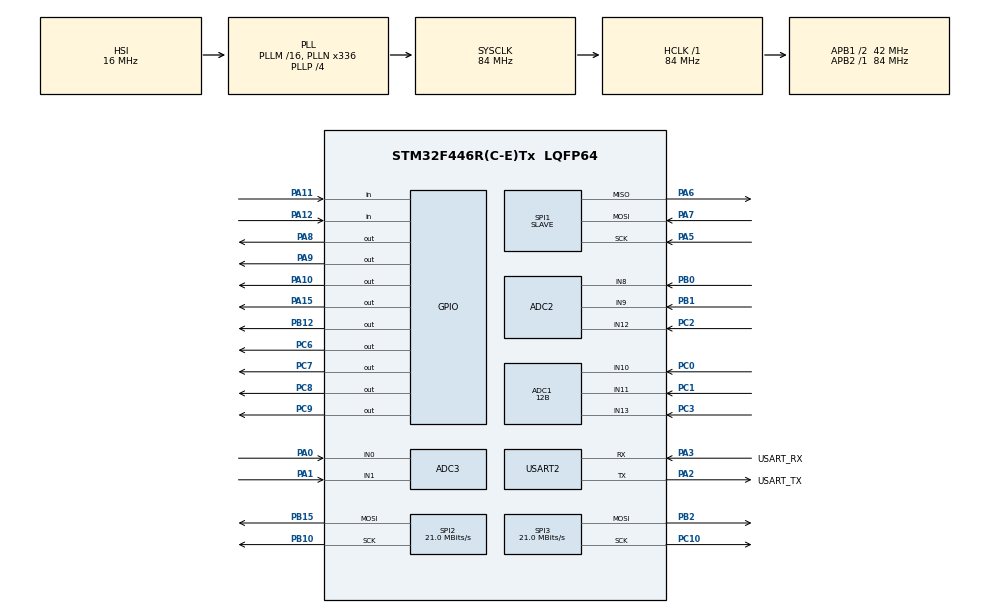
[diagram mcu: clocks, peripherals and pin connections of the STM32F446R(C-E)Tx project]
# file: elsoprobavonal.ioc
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ADC1.Channel-15\#ChannelRegularConversion=ADC_CHANNEL_10
ADC1.Channel-16\#ChannelRegularConversion=ADC_CHANNEL_11
ADC1.Channel-17\#ChannelRegularConversion=ADC_CHANNEL_13
ADC1.ClockPrescaler=ADC_CLOCK_SYNC_PCLK_DIV4
ADC1.ContinuousConvMode=ENABLE
ADC1.DMAContinuousRequests=DISABLE
ADC1.DataAlign=ADC_DATAALIGN_RIGHT
ADC1.DiscontinuousConvMode=DISABLE
ADC1.EOCSelection=ADC_EOC_SINGLE_CONV
ADC1.EnableAnalogWatchDog=false
ADC1.ExternalTrigConv=ADC_SOFTWARE_START
ADC1.ExternalTrigConvEdge=ADC_EXTERNALTRIGCONVEDGE_NONE
ADC1.InjNumberOfConversion=0
ADC1.NbrOfConversion=3
ADC1.NbrOfConversionFlag=1
ADC1.Rank-15\#ChannelRegularConversion=1
ADC1.Rank-16\#ChannelRegularConversion=2
ADC1.Rank-17\#ChannelRegularConversion=3
ADC1.Resolution=ADC_RESOLUTION_12B
ADC1.SamplingTime-15\#ChannelRegularConversion=ADC_SAMPLETIME_84CYCLES
ADC1.SamplingTime-16\#ChannelRegularConversion=ADC_SAMPLETIME_84CYCLES
ADC1.SamplingTime-17\#ChannelRegularConversion=ADC_SAMPLETIME_84CYCLES
ADC1.ScanConvMode=ENABLE
ADC1.master=1
ADC2.Channel-18\#ChannelRegularConversion=ADC_CHANNEL_8
ADC2.Channel-19\#ChannelRegularConversion=ADC_CHANNEL_9
ADC2.Channel-20\#ChannelRegularConversion=ADC_CHANNEL_12
ADC2.ContinuousConvMode=ENABLE
ADC2.DMAContinuousRequests=DISABLE
ADC2.NbrOfConversion=3
ADC2.NbrOfConversionFlag=1
ADC2.Rank-18\#ChannelRegularConversion=1
ADC2.Rank-19\#ChannelRegularConversion=2
ADC2.Rank-20\#ChannelRegularConversion=3
ADC2.SamplingTime-18\#ChannelRegularConversion=ADC_SAMPLETIME_84CYCLES
ADC2.SamplingTime-19\#ChannelRegularConversion=ADC_SAMPLETIME_84CYCLES
ADC2.SamplingTime-20\#ChannelRegularConversion=ADC_SAMPLETIME_84CYCLES
ADC3.Channel-26\#ChannelRegularConversion=ADC_CHANNEL_0
ADC3.Channel-27\#ChannelRegularConversion=ADC_CHANNEL_1
ADC3.ContinuousConvMode=ENABLE
ADC3.DMAContinuousRequests=DISABLE
ADC3.NbrOfConversion=2
ADC3.NbrOfConversionFlag=1
ADC3.Rank-26\#ChannelRegularConversion=1
ADC3.Rank-27\#ChannelRegularConversion=2
ADC3.SamplingTime-26\#ChannelRegularConversion=ADC_SAMPLETIME_84CYCLES
ADC3.SamplingTime-27\#ChannelRegularConversion=ADC_SAMPLETIME_84CYCLES
ADC3.ScanConvMode=ENABLE
Mcu.Family=STM32F4
Mcu.Name=STM32F446R(C-E)Tx
Mcu.Package=LQFP64
NVIC.PriorityGroup=NVIC_PRIORITYGROUP_0
PA0-WKUP.Signal=ADCx_IN0
PA1.Signal=ADCx_IN1
PA10.Signal=GPIO_Output
PA11.Signal=GPIO_Input
PA12.Signal=GPIO_Input
PA13.GPIO_Label=TMS
PA13.Mode=Serial_Wire
PA13.Signal=SYS_JTMS-SWDIO
PA14.GPIO_Label=TCK
PA14.Mode=Serial_Wire
PA14.Signal=SYS_JTCK-SWCLK
PA15.Signal=GPIO_Output
PA2.GPIO_Label=USART_TX
PA2.Mode=Asynchronous
PA2.Signal=USART2_TX
PA3.GPIO_Label=USART_RX
PA3.Mode=Asynchronous
PA3.Signal=USART2_RX
PA5.Mode=Full_Duplex_Slave
PA5.Signal=SPI1_SCK
PA6.Mode=Full_Duplex_Slave
PA6.Signal=SPI1_MISO
PA7.Mode=Full_Duplex_Slave
PA7.Signal=SPI1_MOSI
PA8.Signal=GPIO_Output
PA9.Signal=GPIO_Output
PB0.Signal=ADCx_IN8
PB1.Signal=ADCx_IN9
PB10.Mode=TX_Only_Simplex_Unidirect_Master
PB10.Signal=SPI2_SCK
PB12.Signal=GPIO_Output
PB15.Mode=TX_Only_Simplex_Unidirect_Master
PB15.Signal=SPI2_MOSI
PB2.Mode=TX_Only_Simplex_Unidirect_Master
PB2.Signal=SPI3_MOSI
PC0.Signal=ADCx_IN10
PC1.Signal=ADCx_IN11
PC10.Mode=TX_Only_Simplex_Unidirect_Master
PC10.Signal=SPI3_SCK
PC2.Signal=ADCx_IN12
PC3.Signal=ADCx_IN13
PC6.Signal=GPIO_Output
PC7.Signal=GPIO_Output
PC8.Signal=GPIO_Output
PC9.Signal=GPIO_Output
ProjectManager.HeapSize=0x200
ProjectManager.StackSize=0x400
ProjectManager.TargetToolchain=SW4STM32
RCC.48MHZClocksFreq_Value=84000000
RCC.AHBFreq_Value=84000000
RCC.APB1CLKDivider=RCC_HCLK_DIV2
RCC.APB1Freq_Value=42000000
RCC.APB1TimFreq_Value=84000000
RCC.APB2Freq_Value=84000000
RCC.APB2TimFreq_Value=84000000
RCC.CortexFreq_Value=84000000
RCC.FLatency-AdvancedSettings=FLASH_LATENCY_2
RCC.HCLKFreq_Value=84000000
RCC.HSE_VALUE=8000000
RCC.HSI_VALUE=16000000
RCC.PLLN=336
RCC.PLLP=RCC_PLLP_DIV4
RCC.SYSCLKFreq_VALUE=84000000
RCC.SYSCLKSource=RCC_SYSCLKSOURCE_PLLCLK
RCC.USBFreq_Value=168000000
RCC.VCOOutputFreq_Value=336000000
SH.ADCx_IN0.0=ADC3_IN0,IN0
SH.ADCx_IN1.0=ADC3_IN1,IN1
SH.ADCx_IN10.0=ADC1_IN10,IN10
SH.ADCx_IN11.0=ADC1_IN11,IN11
SH.ADCx_IN12.0=ADC2_IN12,IN12
SH.ADCx_IN13.0=ADC1_IN13,IN13
SH.ADCx_IN8.0=ADC2_IN8,IN8
SH.ADCx_IN9.0=ADC2_IN9,IN9
SPI1.Direction=SPI_DIRECTION_2LINES
SPI1.Mode=SPI_MODE_SLAVE
SPI1.VirtualType=VM_SLAVE
SPI2.CalculateBaudRate=21.0 MBits/s
SPI2.Direction=SPI_DIRECTION_2LINES
SPI2.Mode=SPI_MODE_MASTER
SPI2.VirtualType=VM_MASTER
SPI3.CalculateBaudRate=21.0 MBits/s
SPI3.DataSize=SPI_DATASIZE_16BIT
SPI3.Direction=SPI_DIRECTION_2LINES
SPI3.Mode=SPI_MODE_MASTER
SPI3.VirtualType=VM_MASTER
USART2.VirtualMode=VM_ASYNC
board=NUCLEO-F446RE

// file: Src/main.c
/**
 ******************************************************************************
 * @file           : main.c
 * @brief          : Main program body
 ******************************************************************************
 ** This notice applies to any and all portions of this file
 * that are not between comment pairs USER CODE BEGIN and
 * USER CODE END. Other portions of this file, whether
 * inserted by the user or by software development tools
 * are owned by their respective copyright owners.
 *
 * COPYRIGHT(c) 2018 STMicroelectronics
 *
 * Redistribution and use in source and binary forms, with or without modification,
 * are permitted provided that the following conditions are met:
 *   1. Redistributions of source code must retain the above copyright notice,
 *      this list of conditions and the following disclaimer.
 *   2. Redistributions in binary form must reproduce the above copyright notice,
 *      this list of conditions and the following disclaimer in the documentation
 *      and/or other materials provided with the distribution.
 *   3. Neither the name of STMicroelectronics nor the names of its contributors
 *      may be used to endorse or promote products derived from this software
 *      without specific prior written permission.
 *
 * THIS SOFTWARE IS PROVIDED BY THE COPYRIGHT HOLDERS AND CONTRIBUTORS "AS IS"
 * AND ANY EXPRESS OR IMPLIED WARRANTIES, INCLUDING, BUT NOT LIMITED TO, THE
 * IMPLIED WARRANTIES OF MERCHANTABILITY AND FITNESS FOR A PARTICULAR PURPOSE ARE
 * DISCLAIMED. IN NO EVENT SHALL THE COPYRIGHT HOLDER OR CONTRIBUTORS BE LIABLE
 * FOR ANY DIRECT, INDIRECT, INCIDENTAL, SPECIAL, EXEMPLARY, OR CONSEQUENTIAL
 * DAMAGES (INCLUDING, BUT NOT LIMITED TO, PROCUREMENT OF SUBSTITUTE GOODS OR
 * SERVICES; LOSS OF USE, DATA, OR PROFITS; OR BUSINESS INTERRUPTION) HOWEVER
 * CAUSED AND ON ANY THEORY OF LIABILITY, WHETHER IN CONTRACT, STRICT LIABILITY,
 * OR TORT (INCLUDING NEGLIGENCE OR OTHERWISE) ARISING IN ANY WAY OUT OF THE USE
 * OF THIS SOFTWARE, EVEN IF ADVISED OF THE POSSIBILITY OF SUCH DAMAGE.
 *
 ******************************************************************************
 */
#include "main.h"
#include "stm32f4xx_hal.h"

ADC_HandleTypeDef hadc1;
ADC_HandleTypeDef hadc2;
ADC_HandleTypeDef hadc3;

SPI_HandleTypeDef hspi1;
SPI_HandleTypeDef hspi2;
SPI_HandleTypeDef hspi3;

UART_HandleTypeDef huart2;

/* USER CODE BEGIN PV */
/* Private variables ---------------------------------------------------------*/
typedef struct _TCRT {

	uint32_t data;
	uint32_t channel;
	uint8_t place;
	ADC_HandleTypeDef adc;

} TCRT;

#define LED_latch GPIO_PIN_15
#define TCRT_latch GPIO_PIN_12
#define MUX_A GPIO_PIN_8
#define MUX_B GPIO_PIN_10
#define LED_en1 GPIO_PIN_7
#define LED_en2 GPIO_PIN_8
#define TCRT_en1 GPIO_PIN_6
#define TCRT_en2 GPIO_PIN_9

#define USE_FULL_ASSERT

uint16_t atlag[2], adat[2], spiData[2], trig, kuka, send, target, sum, db;
TCRT line[32];
uint32_t row[32], led[33];

/* USER CODE END PV */

void SystemClock_Config(void);
static void MX_GPIO_Init(void);
static void MX_ADC1_Init(void);
static void MX_ADC2_Init(void);
static void MX_ADC3_Init(void);
static void MX_SPI1_Init(void);
static void MX_SPI3_Init(void);
static void MX_USART2_UART_Init(void);
static void MX_SPI2_Init(void);

/* USER CODE BEGIN PFP */
/* Private function prototypes -----------------------------------------------*/
void initLine();
int ADC_value(ADC_HandleTypeDef hadc, uint32_t channel);
void flash();
void mux_switch_y(uint8_t i);
void mux_switch_x(uint8_t i);
void SendSPI();
/* USER CODE END PFP */

int main(void) {

	/* MCU Configuration----------------------------------------------------------*/

	/* Reset of all peripherals, Initializes the Flash interface and the Systick. */
	HAL_Init();

	/* USER CODE BEGIN Init */

	initLine();

	/* USER CODE END Init */

	/* Configure the system clock */
	SystemClock_Config();

	/* Initialize all configured peripherals */
	MX_GPIO_Init();
	MX_ADC1_Init();
	MX_ADC2_Init();
	MX_ADC3_Init();
	MX_SPI1_Init();
	MX_SPI3_Init();
	MX_USART2_UART_Init();
	MX_SPI2_Init();
	/* USER CODE BEGIN 2 */

//HAL_GPIO_WritePin(GPIOA, LED_latch, GPIO_PIN_RESET);
	HAL_GPIO_WritePin(GPIOC, LED_en1, GPIO_PIN_RESET);
	HAL_GPIO_WritePin(GPIOC, LED_en2, GPIO_PIN_RESET);

	HAL_GPIO_WritePin(GPIOB, TCRT_latch, GPIO_PIN_RESET);
	HAL_GPIO_WritePin(GPIOC, TCRT_en1, GPIO_PIN_RESET);
	HAL_GPIO_WritePin(GPIOC, TCRT_en2, GPIO_PIN_RESET);

	HAL_GPIO_WritePin(GPIOA, MUX_A, GPIO_PIN_RESET);
	HAL_GPIO_WritePin(GPIOA, MUX_B, GPIO_PIN_RESET);

	trig = 400;
	SendSPI();

	adat[1] = 0b0000000000000000;
	adat[0] = 0b0000000000000000;
	HAL_SPI_Transmit(&hspi3, &adat, 2, HAL_MAX_DELAY);
	HAL_GPIO_WritePin(GPIOA, LED_latch, GPIO_PIN_SET);
	HAL_Delay(1);
	HAL_GPIO_WritePin(GPIOA, LED_latch, GPIO_PIN_RESET);

	while (1) {

		 /*spiData[1] = 0b0000000000000000;
		 spiData[0] = 0b0001000100010001;

		 HAL_SPI_Transmit(&hspi3, &spiData, 2, HAL_MAX_DELAY);
		 HAL_SPI_Transmit(&hspi2, &spiData, 2, HAL_MAX_DELAY);
		 HAL_GPIO_WritePin(GPIOB, TCRT_latch, GPIO_PIN_SET);
		 HAL_GPIO_WritePin(GPIOB, TCRT_latch, GPIO_PIN_RESET);
		 mux_switch_y(0);
		 led[20]=ADC_value(hadc1,ADC_CHANNEL_10);
		 mux_switch_x(0);
		 led[32]=ADC_value(hadc1,ADC_CHANNEL_11);
		 mux_switch_y(0);
		 led[28]=ADC_value(hadc1,ADC_CHANNEL_13);
		 mux_switch_x(0);
		 led[24]=ADC_value(hadc2,ADC_CHANNEL_9);
		 mux_switch_x(0);
		 led[16]=ADC_value(hadc2,ADC_CHANNEL_12);
		 mux_switch_y(0);
		 led[12]=ADC_value(hadc2,ADC_CHANNEL_8);
		 mux_switch_x(0);
		 led[8]=ADC_value(hadc3,ADC_CHANNEL_0);
		 mux_switch_y(0);
		 led[4]=ADC_value(hadc3,ADC_CHANNEL_1);

		 //idАig jС

		 spiData[1] = 0b0000000000000000;
		 spiData[0] = 0b0010001000100010;
		 HAL_SPI_Transmit(&hspi3, &spiData, 2, HAL_MAX_DELAY);
		 HAL_SPI_Transmit(&hspi2, &spiData, 2, HAL_MAX_DELAY);
		 HAL_GPIO_WritePin(GPIOB, TCRT_latch, GPIO_PIN_SET);
		 HAL_GPIO_WritePin(GPIOB, TCRT_latch, GPIO_PIN_RESET);
		 mux_switch_y(1);
		 led[19]=ADC_value(hadc1,ADC_CHANNEL_10);
		 mux_switch_x(1);
		 led[31]=ADC_value(hadc1,ADC_CHANNEL_11);
		 mux_switch_y(1);
		 led[27]=ADC_value(hadc1,ADC_CHANNEL_13);
		 mux_switch_x(1);
		 led[23]=ADC_value(hadc2,ADC_CHANNEL_9);
		 mux_switch_x(1);
		 led[15]=ADC_value(hadc2,ADC_CHANNEL_12);
		 mux_switch_y(1);
		 led[11]=ADC_value(hadc2,ADC_CHANNEL_8);
		 mux_switch_x(1);
		 led[7]=ADC_value(hadc3,ADC_CHANNEL_0);
		 mux_switch_y(1);
		 led[3]=ADC_value(hadc3,ADC_CHANNEL_1);

		 //jС

		 spiData[1] = 0b0000000000000000;
		 spiData[0] = 0b0100010001000100;
		 HAL_SPI_Transmit(&hspi3, &spiData, 2, HAL_MAX_DELAY);
		 HAL_SPI_Transmit(&hspi2, &spiData, 2, HAL_MAX_DELAY);
		 HAL_GPIO_WritePin(GPIOB, TCRT_latch, GPIO_PIN_SET);
		 HAL_GPIO_WritePin(GPIOB, TCRT_latch, GPIO_PIN_RESET);

		 mux_switch_y(2);
		 led[18]=ADC_value(hadc1,ADC_CHANNEL_10);
		 mux_switch_x(2);
		 led[30]=ADC_value(hadc1,ADC_CHANNEL_11);
		 mux_switch_y(2);
		 led[26]=ADC_value(hadc1,ADC_CHANNEL_13);
		 mux_switch_x(2);
		 led[22]=ADC_value(hadc2,ADC_CHANNEL_9);
		 mux_switch_x(2);
		 led[14]=ADC_value(hadc2,ADC_CHANNEL_12);
		 mux_switch_y(2);
		 led[10]=ADC_value(hadc2,ADC_CHANNEL_8);
		 mux_switch_x(2);
		 led[6]=ADC_value(hadc3,ADC_CHANNEL_0);
		 mux_switch_y(2);
		 led[2]=ADC_value(hadc3,ADC_CHANNEL_1);

		 spiData[1] = 0b0000000000000000;
		 spiData[0] = 0b1000100010001000;
		 HAL_SPI_Transmit(&hspi3, &spiData, 2, HAL_MAX_DELAY);
		 HAL_SPI_Transmit(&hspi2, &spiData, 2, HAL_MAX_DELAY);
		 HAL_GPIO_WritePin(GPIOB, TCRT_latch, GPIO_PIN_SET);
		 HAL_GPIO_WritePin(GPIOB, TCRT_latch, GPIO_PIN_RESET);

		 mux_switch_y(3);
		 led[17]=ADC_value(hadc1,ADC_CHANNEL_10);
		 mux_switch_x(3);
		 led[29]=ADC_value(hadc1,ADC_CHANNEL_11);
		 mux_switch_y(3);
		 led[25]=ADC_value(hadc1,ADC_CHANNEL_13);
		 mux_switch_x(3);
		 led[21]=ADC_value(hadc2,ADC_CHANNEL_9);
		 mux_switch_x(3);
		 led[13]=ADC_value(hadc2,ADC_CHANNEL_12);
		 mux_switch_y(3);
		 led[9]=ADC_value(hadc2,ADC_CHANNEL_8);
		 mux_switch_x(3);
		 led[5]=ADC_value(hadc3,ADC_CHANNEL_0);
		 mux_switch_y(3);
		 led[1]=ADC_value(hadc3,ADC_CHANNEL_1);

		 if(led[1]>trig)
		 {
		 adat[0]+=0b0000000010000000;
		 }
		 else
		 {
		 adat[0]&=0b1111111101111111;
		 }

		 if(led[17]>trig)
		 {
		 adat[1]+=0b0000000010000000;
		 }
		 else
		 {
		 adat[1]&=0b1111111101111111;
		 }

		 if(led[2]>trig)
		 {
		 adat[0]+=0b0000000001000000;
		 }
		 else
		 {
		 adat[0]&=0b1111111101111111;
		 }

		 if(led[18]>trig)
		 {
		 adat[1]+=0b0000000001000000;
		 }
		 else
		 {
		 adat[1]&=0b1111111110111111;
		 }
		 if(led[3]>trig)
		 {
		 adat[0]+=0b0000000000100000;
		 }
		 else
		 {
		 adat[0]&=0b1111111111011111;
		 }

		 if(led[19]>trig)
		 {
		 adat[1]+=0b0000000000100000;
		 }
		 else
		 {
		 adat[1]&=0b1111111111011111;
		 }

		 if(led[4]>trig)
		 {
		 adat[0]+=0b0000000000010000;
		 }
		 else
		 {
		 adat[0]&=0b1111111111101111;
		 }

		 if(led[20]>trig)
		 {
		 adat[1]+=0b0000000000010000;
		 }
		 else
		 {
		 adat[1]&=0b1111111111101111;
		 }

		 if(led[5]>trig)
		 {
		 adat[0]+=0b0000000000001000;
		 }
		 else
		 {
		 adat[0]&=0b1111111111110111;
		 }
		 if(led[21]>trig)
		 {
		 adat[1]+=0b0000000000001000;
		 }
		 else
		 {
		 adat[1]&=0b1111111111110111;
		 }
		 if(led[6]>trig)
		 {
		 adat[0]+=0b0000000000000100;
		 }
		 else
		 {
		 adat[0]&=0b1111111111111011;
		 }
		 if(led[22]>trig)
		 {
		 adat[1]+=0b0000000000000100;
		 }
		 else
		 {
		 adat[1]&=0b1111111111111011;
		 }
		 if(led[7]>trig)
		 {
		 adat[0]+=0b0000000000000010;
		 }
		 else
		 {
		 adat[0]&=0b1111111111111101;
		 }
		 if(led[23]>trig)
		 {
		 adat[1]+=0b0000000000000010;
		 }
		 else
		 {
		 adat[1]&=0b1111111111111101;
		 }
		 if(led[8]>trig)
		 {
		 adat[0]+=0b0000000000000001;
		 }
		 else
		 {
		 adat[0]&=0b1111111111111110;
		 }
		 if(led[24]>trig)
		 {
		 adat[1]+=0b0000000000000001;
		 }
		 else
		 {
		 adat[1]&=0b1111111111111110;
		 }
		 if(led[9]>trig)
		 {
		 adat[0]+=0b1000000000000000;
		 }
		 else
		 {
		 adat[0]&=0b0111111111111111;
		 }
		 if(led[25]>trig)
		 {
		 adat[1]+=0b1000000000000000;
		 }
		 else
		 {
		 adat[1]&=0b0111111111111111;
		 }
		 if(led[10]>trig)
		 {
		 adat[0]+=0b0100000000000000;
		 }
		 else
		 {
		 adat[0]&=0b1011111111111111;
		 }
		 if(led[26]>trig)
		 {
		 adat[1]+=0b0100000000000000;
		 }
		 else
		 {
		 adat[1]&=0b1011111111111111;
		 }
		 if(led[11]>trig)
		 {
		 adat[0]+=0b0010000000000000;
		 }
		 else
		 {
		 adat[0]&=0b1101111111111111;
		 }
		 if(led[27]>trig)
		 {
		 adat[1]+=0b0010000000000000;
		 }
		 else
		 {
		 adat[1]&=0b1101111111111111;
		 }
		 if(led[12]>trig)
		 {
		 adat[0]+=0b0001000000000000;
		 }
		 else
		 {
		 adat[0]&=0b1110111111111111;
		 }
		 if(led[28]>trig)
		 {
		 adat[1]+=0b0001000000000000;
		 }
		 else
		 {
		 adat[1]&=0b1110111111111111;
		 }
		 if(led[13]>trig)
		 {
		 adat[0]+=0b0000100000000000;
		 }
		 else
		 {
		 adat[0]&=0b1111011111111111;
		 }
		 if(led[29]>trig)
		 {
		 adat[1]+=0b0000100000000000;
		 }
		 else
		 {
		 adat[1]&=0b1111011111111111;
		 }
		 if(led[14]>trig)
		 {
		 adat[0]+=0b0000010000000000;
		 }
		 else
		 {
		 adat[0]&=0b1111101111111111;
		 }
		 if(led[30]>trig)
		 {
		 adat[1]+=0b0000010000000000;
		 }
		 else
		 {
		 adat[1]&=0b1111101111111111;
		 }
		 if(led[15]>trig)
		 {
		 adat[0]+=0b0000001000000000;
		 }
		 else
		 {
		 adat[0]&=0b1111110111111111;
		 }
		 if(led[31]>trig)
		 {
		 adat[1]+=0b0000001000000000;
		 }
		 else
		 {
		 adat[1]&=0b1111110111111111;
		 }
		 if(led[16]>trig)
		 {
		 adat[0]+=0b0000000100000000;
		 }
		 else
		 {
		 adat[0]&=0b1111111011111111;
		 }
		 if(led[32]>trig)
		 {
		 adat[1]+=0b0000000100000000;
		 }
		 else
		 {
		 adat[1]&=0b1111111011111111;
		 }

			HAL_SPI_Transmit(&hspi3, &adat, 2, 10);
			HAL_GPIO_WritePin(GPIOA, LED_latch, GPIO_PIN_SET);
			HAL_Delay(1);
			HAL_GPIO_WritePin(GPIOA, LED_latch, GPIO_PIN_RESET);

			adat[0] = 0;
			adat[1] = 0;

			for(int i=0;i<33;i++)
			{
				if(led[i] > trig)
				{
					sum +=i*100;
					db++;
				}
			}

			target = sum/db;
			//SendSPI(); //msg[0] = db, msg[2] = target
			sum = 0;
			db = 0;*/
		;
	}

//while(1)
//{
//	mux_switch_y(0);
//	spiData[1] = 0b0001000100010001;
//	spiData[0] = 0b0001000100010001;
//	flash(0);
//	HAL_Delay(200);
//	for(int i=0;i<3;i++)
//	{
//		HAL_Delay(200);
//		*((uint32_t*)spiData) *= 2;
//		mux_switch_y(i+1);
//		flash(i+1);
//	}
//
//}

	/* USER CODE END 2 */

	/* Infinite loop */
	while (1) {

	}

}

void HAL_SPI_TxRxCpltCallback(SPI_HandleTypeDef *hspi) {
	SendSPI();
}

void SystemClock_Config(void) {

	RCC_OscInitTypeDef RCC_OscInitStruct;
	RCC_ClkInitTypeDef RCC_ClkInitStruct;

	/**Configure the main internal regulator output voltage
	 */
	__HAL_RCC_PWR_CLK_ENABLE()
	;

	__HAL_PWR_VOLTAGESCALING_CONFIG(PWR_REGULATOR_VOLTAGE_SCALE3);

	/**Initializes the CPU, AHB and APB busses clocks
	 */
	RCC_OscInitStruct.OscillatorType = RCC_OSCILLATORTYPE_HSI;
	RCC_OscInitStruct.HSIState = RCC_HSI_ON;
	RCC_OscInitStruct.HSICalibrationValue = 16;
	RCC_OscInitStruct.PLL.PLLState = RCC_PLL_ON;
	RCC_OscInitStruct.PLL.PLLSource = RCC_PLLSOURCE_HSI;
	RCC_OscInitStruct.PLL.PLLM = 16;
	RCC_OscInitStruct.PLL.PLLN = 336;
	RCC_OscInitStruct.PLL.PLLP = RCC_PLLP_DIV4;
	RCC_OscInitStruct.PLL.PLLQ = 2;
	RCC_OscInitStruct.PLL.PLLR = 2;
	if (HAL_RCC_OscConfig(&RCC_OscInitStruct) != HAL_OK) {
		_Error_Handler(__FILE__, __LINE__);
	}

	/**Initializes the CPU, AHB and APB busses clocks
	 */
	RCC_ClkInitStruct.ClockType = RCC_CLOCKTYPE_HCLK | RCC_CLOCKTYPE_SYSCLK
			| RCC_CLOCKTYPE_PCLK1 | RCC_CLOCKTYPE_PCLK2;
	RCC_ClkInitStruct.SYSCLKSource = RCC_SYSCLKSOURCE_PLLCLK;
	RCC_ClkInitStruct.AHBCLKDivider = RCC_SYSCLK_DIV1;
	RCC_ClkInitStruct.APB1CLKDivider = RCC_HCLK_DIV2;
	RCC_ClkInitStruct.APB2CLKDivider = RCC_HCLK_DIV1;

	if (HAL_RCC_ClockConfig(&RCC_ClkInitStruct, FLASH_LATENCY_2) != HAL_OK) {
		_Error_Handler(__FILE__, __LINE__);
	}

	/**Configure the Systick interrupt time
	 */
	HAL_SYSTICK_Config(HAL_RCC_GetHCLKFreq() / 1000);

	/**Configure the Systick
	 */
	HAL_SYSTICK_CLKSourceConfig(SYSTICK_CLKSOURCE_HCLK);

	/* SysTick_IRQn interrupt configuration */
	HAL_NVIC_SetPriority(SysTick_IRQn, 0, 0);
}

/* ADC1 init function */
static void MX_ADC1_Init(void) {

	ADC_ChannelConfTypeDef sConfig;

	/**Configure the global features of the ADC (Clock, Resolution, Data Alignment and number of conversion)
	 */
	hadc1.Instance = ADC1;
	hadc1.Init.ClockPrescaler = ADC_CLOCK_SYNC_PCLK_DIV4;
	hadc1.Init.Resolution = ADC_RESOLUTION_12B;
	hadc1.Init.ScanConvMode = ENABLE;
	hadc1.Init.ContinuousConvMode = ENABLE;
	hadc1.Init.DiscontinuousConvMode = DISABLE;
	hadc1.Init.ExternalTrigConvEdge = ADC_EXTERNALTRIGCONVEDGE_NONE;
	hadc1.Init.ExternalTrigConv = ADC_SOFTWARE_START;
	hadc1.Init.DataAlign = ADC_DATAALIGN_RIGHT;
	hadc1.Init.NbrOfConversion = 3;
	hadc1.Init.DMAContinuousRequests = DISABLE;
	hadc1.Init.EOCSelection = ADC_EOC_SINGLE_CONV;
	if (HAL_ADC_Init(&hadc1) != HAL_OK) {
		_Error_Handler(__FILE__, __LINE__);
	}

	/**Configure for the selected ADC regular channel its corresponding rank in the sequencer and its sample time.
	 */
	sConfig.Channel = ADC_CHANNEL_10;
	sConfig.Rank = 1;
	sConfig.SamplingTime = ADC_SAMPLETIME_3CYCLES;
	if (HAL_ADC_ConfigChannel(&hadc1, &sConfig) != HAL_OK) {
		_Error_Handler(__FILE__, __LINE__);
	}

	/**Configure for the selected ADC regular channel its corresponding rank in the sequencer and its sample time.
	 */
	sConfig.Channel = ADC_CHANNEL_11;
	sConfig.Rank = 2;
	if (HAL_ADC_ConfigChannel(&hadc1, &sConfig) != HAL_OK) {
		_Error_Handler(__FILE__, __LINE__);
	}

	/**Configure for the selected ADC regular channel its corresponding rank in the sequencer and its sample time.
	 */
	sConfig.Channel = ADC_CHANNEL_13;
	sConfig.Rank = 3;
	if (HAL_ADC_ConfigChannel(&hadc1, &sConfig) != HAL_OK) {
		_Error_Handler(__FILE__, __LINE__);
	}

}

/* ADC2 init function */
static void MX_ADC2_Init(void) {

	ADC_ChannelConfTypeDef sConfig;

	/**Configure the global features of the ADC (Clock, Resolution, Data Alignment and number of conversion)
	 */
	hadc2.Instance = ADC2;
	hadc2.Init.ClockPrescaler = ADC_CLOCK_SYNC_PCLK_DIV4;
	hadc2.Init.Resolution = ADC_RESOLUTION_12B;
	hadc2.Init.ScanConvMode = ENABLE;
	hadc2.Init.ContinuousConvMode = ENABLE;
	hadc2.Init.DiscontinuousConvMode = DISABLE;
	hadc2.Init.ExternalTrigConvEdge = ADC_EXTERNALTRIGCONVEDGE_NONE;
	hadc2.Init.ExternalTrigConv = ADC_SOFTWARE_START;
	hadc2.Init.DataAlign = ADC_DATAALIGN_RIGHT;
	hadc2.Init.NbrOfConversion = 3;
	hadc2.Init.DMAContinuousRequests = DISABLE;
	hadc2.Init.EOCSelection = ADC_EOC_SINGLE_CONV;
	if (HAL_ADC_Init(&hadc2) != HAL_OK) {
		_Error_Handler(__FILE__, __LINE__);
	}

	/**Configure for the selected ADC regular channel its corresponding rank in the sequencer and its sample time.
	 */
	sConfig.Channel = ADC_CHANNEL_8;
	sConfig.Rank = 1;
	sConfig.SamplingTime = ADC_SAMPLETIME_3CYCLES;
	if (HAL_ADC_ConfigChannel(&hadc2, &sConfig) != HAL_OK) {
		_Error_Handler(__FILE__, __LINE__);
	}

	/**Configure for the selected ADC regular channel its corresponding rank in the sequencer and its sample time.
	 */
	sConfig.Channel = ADC_CHANNEL_9;
	sConfig.Rank = 2;
	if (HAL_ADC_ConfigChannel(&hadc2, &sConfig) != HAL_OK) {
		_Error_Handler(__FILE__, __LINE__);
	}

	/**Configure for the selected ADC regular channel its corresponding rank in the sequencer and its sample time.
	 */
	sConfig.Channel = ADC_CHANNEL_12;
	sConfig.Rank = 3;
	if (HAL_ADC_ConfigChannel(&hadc2, &sConfig) != HAL_OK) {
		_Error_Handler(__FILE__, __LINE__);
	}

}

/* ADC3 init function */
static void MX_ADC3_Init(void) {

	ADC_ChannelConfTypeDef sConfig;

	/**Configure the global features of the ADC (Clock, Resolution, Data Alignment and number of conversion)
	 */
	hadc3.Instance = ADC3;
	hadc3.Init.ClockPrescaler = ADC_CLOCK_SYNC_PCLK_DIV4;
	hadc3.Init.Resolution = ADC_RESOLUTION_12B;
	hadc3.Init.ScanConvMode = ENABLE;
	hadc3.Init.ContinuousConvMode = ENABLE;
	hadc3.Init.DiscontinuousConvMode = DISABLE;
	hadc3.Init.ExternalTrigConvEdge = ADC_EXTERNALTRIGCONVEDGE_NONE;
	hadc3.Init.ExternalTrigConv = ADC_SOFTWARE_START;
	hadc3.Init.DataAlign = ADC_DATAALIGN_RIGHT;
	hadc3.Init.NbrOfConversion = 2;
	hadc3.Init.DMAContinuousRequests = DISABLE;
	hadc3.Init.EOCSelection = ADC_EOC_SINGLE_CONV;
	if (HAL_ADC_Init(&hadc3) != HAL_OK) {
		_Error_Handler(__FILE__, __LINE__);
	}

	/**Configure for the selected ADC regular channel its corresponding rank in the sequencer and its sample time.
	 */
	sConfig.Channel = ADC_CHANNEL_0;
	sConfig.Rank = 1;
	sConfig.SamplingTime = ADC_SAMPLETIME_3CYCLES;
	if (HAL_ADC_ConfigChannel(&hadc3, &sConfig) != HAL_OK) {
		_Error_Handler(__FILE__, __LINE__);
	}

	/**Configure for the selected ADC regular channel its corresponding rank in the sequencer and its sample time.
	 */
	sConfig.Channel = ADC_CHANNEL_1;
	sConfig.Rank = 2;
	if (HAL_ADC_ConfigChannel(&hadc3, &sConfig) != HAL_OK) {
		_Error_Handler(__FILE__, __LINE__);
	}

}

/* SPI1 init function */
static void MX_SPI1_Init(void) {

	/* SPI1 parameter configuration*/
	hspi1.Instance = SPI1;
	hspi1.Init.Mode = SPI_MODE_SLAVE;
	hspi1.Init.Direction = SPI_DIRECTION_2LINES;
	hspi1.Init.DataSize = SPI_DATASIZE_8BIT;
	hspi1.Init.CLKPolarity = SPI_POLARITY_LOW;
	hspi1.Init.CLKPhase = SPI_PHASE_1EDGE;
	hspi1.Init.NSS = SPI_NSS_SOFT;
	hspi1.Init.FirstBit = SPI_FIRSTBIT_MSB;
	hspi1.Init.TIMode = SPI_TIMODE_DISABLE;
	hspi1.Init.CRCCalculation = SPI_CRCCALCULATION_DISABLE;
	hspi1.Init.CRCPolynomial = 10;
	if (HAL_SPI_Init(&hspi1) != HAL_OK) {
		_Error_Handler(__FILE__, __LINE__);
	}

}

/* SPI2 init function */
static void MX_SPI2_Init(void) {

	/* SPI2 parameter configuration*/
	hspi2.Instance = SPI2;
	hspi2.Init.Mode = SPI_MODE_MASTER;
	hspi2.Init.Direction = SPI_DIRECTION_2LINES;
	hspi2.Init.DataSize = SPI_DATASIZE_8BIT;
	hspi2.Init.CLKPolarity = SPI_POLARITY_LOW;
	hspi2.Init.CLKPhase = SPI_PHASE_1EDGE;
	hspi2.Init.NSS = SPI_NSS_SOFT;
	hspi2.Init.BaudRatePrescaler = SPI_BAUDRATEPRESCALER_2;
	hspi2.Init.FirstBit = SPI_FIRSTBIT_MSB;
	hspi2.Init.TIMode = SPI_TIMODE_DISABLE;
	hspi2.Init.CRCCalculation = SPI_CRCCALCULATION_DISABLE;
	hspi2.Init.CRCPolynomial = 10;
	if (HAL_SPI_Init(&hspi2) != HAL_OK) {
		_Error_Handler(__FILE__, __LINE__);
	}

}

/* SPI3 init function */
static void MX_SPI3_Init(void) {

	/* SPI3 parameter configuration*/
	hspi3.Instance = SPI3;
	hspi3.Init.Mode = SPI_MODE_MASTER;
	hspi3.Init.Direction = SPI_DIRECTION_2LINES;
	hspi3.Init.DataSize = SPI_DATASIZE_16BIT;
	hspi3.Init.CLKPolarity = SPI_POLARITY_LOW;
	hspi3.Init.CLKPhase = SPI_PHASE_1EDGE;
	hspi3.Init.NSS = SPI_NSS_SOFT;
	hspi3.Init.BaudRatePrescaler = SPI_BAUDRATEPRESCALER_2;
	hspi3.Init.FirstBit = SPI_FIRSTBIT_MSB;
	hspi3.Init.TIMode = SPI_TIMODE_DISABLE;
	hspi3.Init.CRCCalculation = SPI_CRCCALCULATION_DISABLE;
	hspi3.Init.CRCPolynomial = 10;
	if (HAL_SPI_Init(&hspi3) != HAL_OK) {
		_Error_Handler(__FILE__, __LINE__);
	}

}

/* USART2 init function */
static void MX_USART2_UART_Init(void) {

	huart2.Instance = USART2;
	huart2.Init.BaudRate = 115200;
	huart2.Init.WordLength = UART_WORDLENGTH_8B;
	huart2.Init.StopBits = UART_STOPBITS_1;
	huart2.Init.Parity = UART_PARITY_NONE;
	huart2.Init.Mode = UART_MODE_TX_RX;
	huart2.Init.HwFlowCtl = UART_HWCONTROL_NONE;
	huart2.Init.OverSampling = UART_OVERSAMPLING_16;
	if (HAL_UART_Init(&huart2) != HAL_OK) {
		_Error_Handler(__FILE__, __LINE__);
	}

}

/** Configure pins as
 * Analog
 * Input
 * Output
 * EVENT_OUT
 * EXTI
 */
static void MX_GPIO_Init(void) {

	GPIO_InitTypeDef GPIO_InitStruct;

	/* GPIO Ports Clock Enable */
	__HAL_RCC_GPIOC_CLK_ENABLE()
	;
	__HAL_RCC_GPIOA_CLK_ENABLE()
	;
	__HAL_RCC_GPIOB_CLK_ENABLE()
	;

	/*Configure GPIO pin Output Level */
	HAL_GPIO_WritePin(GPIOB, GPIO_PIN_12, GPIO_PIN_RESET);

	/*Configure GPIO pin Output Level */
	HAL_GPIO_WritePin(GPIOC, GPIO_PIN_6 | GPIO_PIN_7 | GPIO_PIN_8 | GPIO_PIN_9,
			GPIO_PIN_RESET);

	/*Configure GPIO pin Output Level */
	HAL_GPIO_WritePin(GPIOA,
			GPIO_PIN_8 | GPIO_PIN_9 | GPIO_PIN_10 | GPIO_PIN_15,
			GPIO_PIN_RESET);

	/*Configure GPIO pin : PB12 */
	GPIO_InitStruct.Pin = GPIO_PIN_12;
	GPIO_InitStruct.Mode = GPIO_MODE_OUTPUT_PP;
	GPIO_InitStruct.Pull = GPIO_NOPULL;
	GPIO_InitStruct.Speed = GPIO_SPEED_FREQ_LOW;
	HAL_GPIO_Init(GPIOB, &GPIO_InitStruct);

	/*Configure GPIO pins : PC6 PC7 PC8 PC9 */
	GPIO_InitStruct.Pin = GPIO_PIN_6 | GPIO_PIN_7 | GPIO_PIN_8 | GPIO_PIN_9;
	GPIO_InitStruct.Mode = GPIO_MODE_OUTPUT_PP;
	GPIO_InitStruct.Pull = GPIO_NOPULL;
	GPIO_InitStruct.Speed = GPIO_SPEED_FREQ_LOW;
	HAL_GPIO_Init(GPIOC, &GPIO_InitStruct);

	/*Configure GPIO pins : PA8 PA9 PA10 PA15 */
	GPIO_InitStruct.Pin = GPIO_PIN_8 | GPIO_PIN_9 | GPIO_PIN_10 | GPIO_PIN_15;
	GPIO_InitStruct.Mode = GPIO_MODE_OUTPUT_PP;
	GPIO_InitStruct.Pull = GPIO_NOPULL;
	GPIO_InitStruct.Speed = GPIO_SPEED_FREQ_LOW;
	HAL_GPIO_Init(GPIOA, &GPIO_InitStruct);

	/*Configure GPIO pins : PA11 PA12 */
	GPIO_InitStruct.Pin = GPIO_PIN_11 | GPIO_PIN_12;
	GPIO_InitStruct.Mode = GPIO_MODE_INPUT;
	GPIO_InitStruct.Pull = GPIO_NOPULL;
	HAL_GPIO_Init(GPIOA, &GPIO_InitStruct);

}

/* USER CODE BEGIN 4 */

int ADC_value(ADC_HandleTypeDef hadc, uint32_t channel) {
	ADC_ChannelConfTypeDef sConfig;

	if (HAL_ADC_Stop(&hadc) != HAL_OK)
		_Error_Handler(__FILE__, __LINE__);

	sConfig.Channel = channel;
	sConfig.Rank = 1;
	if (HAL_ADC_ConfigChannel(&hadc, &sConfig) != HAL_OK)
		_Error_Handler(__FILE__, __LINE__);

	HAL_Delay(1);
	if (HAL_ADC_Start(&hadc) != HAL_OK)
		_Error_Handler(__FILE__, __LINE__);

	if (HAL_ADC_PollForConversion(&hadc, 100) != HAL_OK)
		_Error_Handler(__FILE__, __LINE__);

	return HAL_ADC_GetValue(&hadc);
}

void flash(int h) {
	HAL_SPI_Transmit(&hspi3, &spiData, 2, HAL_MAX_DELAY);
	HAL_SPI_Transmit(&hspi2, &spiData, 2, HAL_MAX_DELAY);
	HAL_GPIO_WritePin(GPIOB, TCRT_latch, GPIO_PIN_SET);
	mux_switch_x(h);
	line[7 - h].data = ADC_value(line[7 - h].adc, line[7 - h].channel);
	mux_switch_y(h);
	line[3 - h].data = ADC_value(line[3 - h].adc, line[3 - h].channel);
	line[11 - h].data = ADC_value(line[11 - h].adc, line[11 - h].channel);
	line[19 - h].data = ADC_value(line[7 - h].adc, line[19 - h].channel);
	mux_switch_x(h);
	line[23 - h].data = ADC_value(line[23 - h].adc, line[23 - h].channel);
	line[31 - h].data = ADC_value(line[31 - h].adc, line[31 - h].channel);
	line[15 - h].data = ADC_value(line[15 - h].adc, line[15 - h].channel);
	mux_switch_y(h);
	line[27 - h].data = ADC_value(line[27 - h].adc, line[27 - h].channel);
	HAL_GPIO_WritePin(GPIOB, TCRT_latch, GPIO_PIN_RESET);
}

uint16_t cmd[5] = { 0 };
uint16_t msg[5] = { 0 };

uint16_t Calc_SPIChksum(uint16_t* buf, uint16_t len)
{
	uint16_t i;
	uint16_t chk = 0x2A;
	for (i = 0; i < len; ++i)
		chk += buf[i];

	return chk;
}

void SendSPI() {
	msg[0] = 21;
	msg[1] = db;
	msg[2] = target;
	msg[3] = 3;
	msg[4] = Calc_SPIChksum(msg, 4);
	HAL_StatusTypeDef ret = HAL_SPI_TransmitReceive_IT(&hspi1, msg, cmd, sizeof(msg));
}

void mux_switch_y(uint8_t i) {
switch (i) {
	case 0: {
		HAL_GPIO_WritePin(GPIOA, MUX_A, GPIO_PIN_SET);
		HAL_GPIO_WritePin(GPIOA, MUX_B, GPIO_PIN_RESET);
		//HAL_Delay(1);
		break;
	}
	case 1: {
		HAL_GPIO_WritePin(GPIOA, MUX_A, GPIO_PIN_SET);
		HAL_GPIO_WritePin(GPIOA, MUX_B, GPIO_PIN_SET);
		//HAL_Delay(1);
		break;
	}
	case 2: {
		HAL_GPIO_WritePin(GPIOA, MUX_A, GPIO_PIN_RESET);
		HAL_GPIO_WritePin(GPIOA, MUX_B, GPIO_PIN_SET);
		//HAL_Delay(1);
		break;
	}
	case 3: {
		HAL_GPIO_WritePin(GPIOA, MUX_A, GPIO_PIN_RESET);
		HAL_GPIO_WritePin(GPIOA, MUX_B, GPIO_PIN_RESET);
		//HAL_Delay(1);
		break;
	}
	default: {
		break;
	}
	}
}

void mux_switch_x(uint8_t i) {
	switch (i) {
	case 0: {
		HAL_GPIO_WritePin(GPIOA, MUX_A, GPIO_PIN_SET);
		HAL_GPIO_WritePin(GPIOA, MUX_B, GPIO_PIN_SET);
		//HAL_Delay(1);
		break;
	}
	case 1: {
		HAL_GPIO_WritePin(GPIOA, MUX_A, GPIO_PIN_RESET);
		HAL_GPIO_WritePin(GPIOA, MUX_B, GPIO_PIN_RESET);
		//HAL_Delay(1);
		break;
	}
	case 2: {
		HAL_GPIO_WritePin(GPIOA, MUX_A, GPIO_PIN_SET);
		HAL_GPIO_WritePin(GPIOA, MUX_B, GPIO_PIN_RESET);
		//HAL_Delay(1);
		break;
	}
	case 3: {
		HAL_GPIO_WritePin(GPIOA, MUX_A, GPIO_PIN_RESET);
		HAL_GPIO_WritePin(GPIOA, MUX_B, GPIO_PIN_SET);
		//HAL_Delay(1);
		break;
	}
	default: {
		break;
	}
	}
}

void initLine() {
	for (int i = 28; i < 32; i++) {
		line[i].data = 0;
		line[i].channel = ADC_CHANNEL_11;
		line[i].place = i;
		line[i].adc = hadc1;
	}

	for (int i = 24; i < 28; i++) {
		line[i].data = 0;
		line[i].channel = ADC_CHANNEL_13;
		line[i].place = i;
		line[i].adc = hadc1;
	}

	for (int i = 20; i < 24; i++) {
		line[i].data = 0;
		line[i].channel = ADC_CHANNEL_9;
		line[i].place = i;
		line[i].adc = hadc2;
	}

	for (int i = 16; i < 20; i++) {
		line[i].data = 0;
		line[i].channel = ADC_CHANNEL_10;
		line[i].place = i;
		line[i].adc = hadc1;
	}

	for (int i = 12; i < 16; i++) {
		line[i].data = 0;
		line[i].channel = ADC_CHANNEL_12;
		line[i].place = i;
		line[i].adc = hadc2;
	}

	for (int i = 8; i < 12; i++) {
		line[i].data = 0;
		line[i].channel = ADC_CHANNEL_8;
		line[i].place = i;
		line[i].adc = hadc2;
	}

	for (int i = 4; i < 8; i++) {
		line[i].data = 0;
		line[i].channel = ADC_CHANNEL_0;
		line[i].place = i;
		line[i].adc = hadc3;
	}

	for (int i = 0; i < 4; i++) {
		line[i].data = 0;
		line[i].channel = ADC_CHANNEL_1;
		line[i].place = i;
		line[i].adc = hadc3;
	}
}

/* USER CODE END 4 */

void _Error_Handler(char *file, int line) {
	while (1) {
	}
}

/************************ (C) COPYRIGHT STMicroelectronics *****END OF FILE****/
